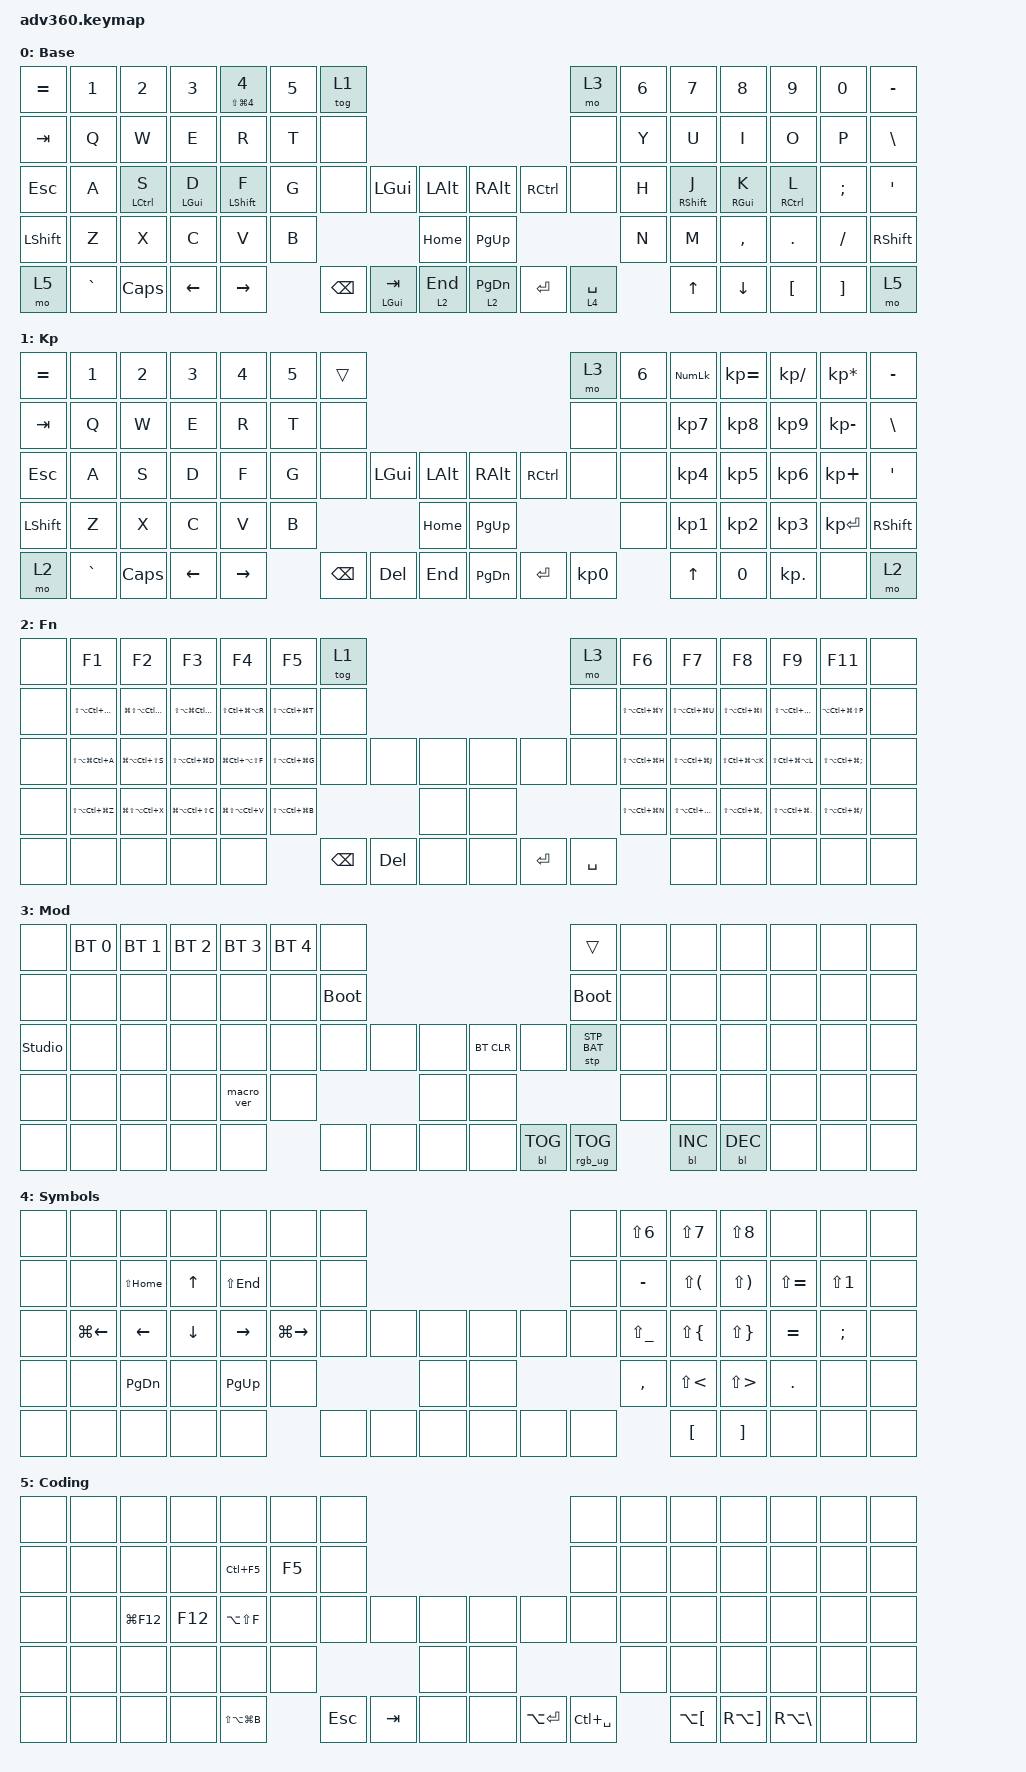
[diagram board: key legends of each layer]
#include <dt-bindings/zmk/stp.h>
#include <behaviors.dtsi>
#include <dt-bindings/zmk/backlight.h>
#include <dt-bindings/zmk/bt.h>
#include <dt-bindings/zmk/keys.h>
#include <dt-bindings/zmk/rgb.h>

/ {
    behaviors {
        #include "macros.dtsi"
      #include "version.dtsi"

        hm: homerow_mods {
            compatible = "zmk,behavior-hold-tap";
            label = "HOMEROW_MODS";
            #binding-cells = <2>;
            tapping-term-ms = <200>;
            quick_tap_ms = <175>;
            flavor = "tap-preferred";
            bindings = <&kp>, <&kp>;

            hold-trigger-key-positions = <0 1 2 3 4 5 6 7 8 9 10 11 12 13 14 15 16 17 18 19 20 21 22 23 24 25 26 27 28 29 30 31 32 33 34 39 40 41 42 43 44 45 46 47 48 49 50 51 54 55 56 57 58 59 60 61 62 63 64 71 72 73 74 75>;
        };

        thleft: thleft {
            compatible = "zmk,behavior-hold-tap";
            label = "THLEFT";
            bindings = <&kp>, <&kp>;

            #binding-cells = <2>;
            tapping-term-ms = <250>;
            quick-tap-ms = <200>;
            flavor = "balanced";
            hold-trigger-key-positions = <7 8 9 10 11 12 13 21 22 23 24 25 26 27 39 40 41 42 43 44 45 54 55 56 57 58 59 71 72 73 74 75 0 1 2 3 4 5 6 14 15 16 17 18 19 20 28 29 30 31 32 33 34 46 47 48 49 50 51 60 61 62 63 64 69 70 65 66 69 54 69 70>;
            require-prior-idle-ms = <10>;
        };

        thright: thright {
            compatible = "zmk,behavior-hold-tap";
            label = "THRIGHT";
            bindings = <&kp>, <&kp>;

            #binding-cells = <2>;
            tapping-term-ms = <250>;
            quick-tap-ms = <200>;
            flavor = "tap-preferred";
            hold-trigger-key-positions = <0 1 2 3 4 5 6 14 15 16 17 18 19 20 28 29 30 31 32 33 34 46 47 48 49 50 51 60 61 62 63 64 13 27 45 59 75 12 26 44 58 74 7 8 9 10 11 12 21 22 23 24 25 26 39 40 41 42 43 44 54 55 56 57 58 71 72 73 69 70 65 66>;
            require-prior-idle-ms = <10>;
        };
    };

    keymap {
        compatible = "zmk,keymap";

        default_layer {
            display-name = "Base";
            bindings = <
&kp EQUAL  &kp N1     &kp N2                  &kp N3          &mt LS(LG(NUMBER_4)) NUMBER_4  &kp N5  &tog 1                                                                 &mo 3        &kp N6  &kp N7                  &kp N8                &kp N9            &kp N0    &kp MINUS
&kp TAB    &kp Q      &kp W                   &kp E           &kp R                          &kp T   &none                                                                  &none        &kp Y   &kp U                   &kp I                 &kp O             &kp P     &kp BSLH
&kp ESC    &kp A      &thleft LEFT_CONTROL S  &thleft LGUI D  &thleft LEFT_SHIFT F           &kp G   &none     &kp LEFT_GUI      &kp LALT       &kp RIGHT_ALT    &kp RCTRL  &none        &kp H   &thright RIGHT_SHIFT J  &thright RIGHT_GUI K  &thright RCTRL L  &kp SEMI  &kp SQT
&kp LSHFT  &kp Z      &kp X                   &kp C           &kp V                          &kp B                               &kp HOME       &kp PG_UP                                &kp N   &kp M                   &kp COMMA             &kp DOT           &kp FSLH  &kp RSHFT
&mo 5      &kp GRAVE  &kp CAPS                &kp LEFT        &kp RIGHT                              &kp BSPC  &mt LEFT_GUI TAB  &lt 2 END      &lt 2 PAGE_DOWN  &kp ENTER  &lt 4 SPACE          &kp UP                  &kp DOWN              &kp LBKT          &kp RBKT  &mo 5
            >;
        };

        keypad {
            display-name = "Kp";
            bindings = <
&kp EQUAL  &kp N1     &kp N2    &kp N3    &kp N4     &kp N5  &trans                                                          &mo 3      &kp N6  &kp KP_NUM  &kp KP_EQUAL  &kp KP_DIVIDE  &kp KP_MULTIPLY  &kp MINUS
&kp TAB    &kp Q      &kp W     &kp E     &kp R      &kp T   &none                                                           &none      &none   &kp KP_N7   &kp KP_N8     &kp KP_N9      &kp KP_MINUS     &kp BSLH
&kp ESC    &kp A      &kp S     &kp D     &kp F      &kp G   &none     &kp LEFT_GUI  &kp LALT      &kp RIGHT_ALT  &kp RCTRL  &none      &none   &kp KP_N4   &kp KP_N5     &kp KP_N6      &kp KP_PLUS      &kp SQT
&kp LSHFT  &kp Z      &kp X     &kp C     &kp V      &kp B                           &kp HOME      &kp PG_UP                            &none   &kp KP_N1   &kp KP_N2     &kp KP_N3      &kp KP_ENTER     &kp RSHFT
&mo 2      &kp GRAVE  &kp CAPS  &kp LEFT  &kp RIGHT          &kp BSPC  &kp DEL       &kp END       &kp PG_DN      &kp ENTER  &kp KP_N0          &kp UP      &kp N0        &kp KP_DOT     &none            &mo 2
            >;
        };

        fn {
            display-name = "Fn";
            bindings = <
&none  &kp F1                 &kp F2                 &kp F3                                 &kp F4                 &kp F5                 &tog 1                                                  &mo 3      &kp F6                 &kp F7                 &kp F8                     &kp F9                   &kp F11                   &none
&none  &kp LS(LA(LC(LG(Q))))  &kp LG(LS(LA(LC(W))))  &kp LS(LA(LG(LC(RS(RA(RC(RG(E))))))))  &kp LS(LC(LG(LA(R))))  &kp LS(LA(LC(LG(T))))  &none                                                   &none      &kp LS(LA(LC(LG(Y))))  &kp LS(LA(LC(LG(U))))  &kp LS(LA(LC(LG(I))))      &kp LS(LA(LC(LG(O))))    &kp LA(LC(LG(LS(P))))     &none
&none  &kp LS(LA(LG(LC(A))))  &kp LG(LA(LC(LS(S))))  &kp LS(LA(LC(LG(D))))                  &kp LG(LC(LA(LS(F))))  &kp LS(LA(LC(LG(G))))  &none          &none       &none      &none  &none      &none      &kp LS(LA(LC(LG(H))))  &kp LS(LA(LC(LG(J))))  &kp LS(LC(LG(LA(K))))      &kp LS(LC(LG(LA(L))))    &kp LS(LA(LC(LG(SEMI))))  &none
&none  &kp LS(LA(LC(LG(Z))))  &kp LG(LS(LA(LC(X))))  &kp LG(LA(LC(LS(C))))                  &kp LG(LS(LA(LC(V))))  &kp LS(LA(LC(LG(B))))                             &none      &none                        &kp LS(LA(LC(LG(N))))  &kp LS(LA(LC(LG(M))))  &kp LS(LA(LC(LG(COMMA))))  &kp LS(LA(LC(LG(DOT))))  &kp LS(LA(LC(LG(FSLH))))  &none
&none  &none                  &none                  &none                                  &none                                         &kp BACKSPACE  &kp DELETE  &none      &none  &kp ENTER  &kp SPACE                         &none                  &none                      &none                    &none                     &none
            >;
        };

        mod {
            display-name = "Mod";
            bindings = <
&none           &bt BT_SEL 0  &bt BT_SEL 1  &bt BT_SEL 2  &bt BT_SEL 3  &bt BT_SEL 4  &none                                                  &trans           &none  &none       &none       &none  &none  &none
&none           &none         &none         &none         &none         &none         &bootloader                                            &bootloader      &none  &none       &none       &none  &none  &none
&studio_unlock  &none         &none         &none         &none         &none         &none        &none  &none      &bt BT_CLR  &none       &stp STP_BAT     &none  &none       &none       &none  &none  &none
&none           &none         &none         &none         &macro_ver    &none                             &none      &none                                    &none  &none       &none       &none  &none  &none
&none           &none         &none         &none         &none                       &none        &none  &none      &none       &bl BL_TOG  &rgb_ug RGB_TOG         &bl BL_INC  &bl BL_DEC  &none  &none  &none
            >;
        };

        Symbols {
            bindings = <
&none  &none         &none         &none     &none        &none          &none                                  &none  &kp LS(NUMBER_6)  &kp LS(N7)        &kp LS(N8)         &none          &none             &none
&none  &none         &kp LS(HOME)  &kp UP    &kp LS(END)  &none          &none                                  &none  &kp MINUS         &kp LS(LPAR)      &kp LS(RPAR)       &kp LS(EQUAL)  &kp LS(NUMBER_1)  &none
&none  &kp LG(LEFT)  &kp LEFT      &kp DOWN  &kp RIGHT    &kp LG(RIGHT)  &none  &none  &none      &none  &none  &none  &kp LS(UNDER)     &kp LS(LBRC)      &kp LS(RBRC)       &kp EQUAL      &kp SEMI          &none
&none  &none         &kp PG_DN     &none     &kp PG_UP    &none                        &none      &none                &kp COMMA         &kp LS(LT)        &kp LS(GT)         &kp PERIOD     &none             &none
&none  &none         &none         &none     &none                       &none  &none  &none      &none  &none  &none                    &kp LEFT_BRACKET  &kp RIGHT_BRACKET  &none          &none             &none
            >;
        };

        Coding {
            bindings = <
&none  &none  &none        &none    &none              &none   &none                                                 &none          &none  &none                 &none                  &none              &none  &none
&none  &none  &none        &none    &kp LC(F5)         &kp F5  &none                                                 &none          &none  &none                 &none                  &none              &none  &none
&none  &none  &kp LG(F12)  &kp F12  &kp LA(LS(F))      &none   &none       &none    &none      &none  &none          &none          &none  &none                 &none                  &none              &none  &none
&none  &none  &none        &none    &none              &none                        &none      &none                                &none  &none                 &none                  &none              &none  &none
&none  &none  &none        &none    &kp LS(LA(LG(B)))          &kp ESCAPE  &kp TAB  &none      &none  &kp LA(ENTER)  &kp LC(SPACE)         &kp LA(LEFT_BRACKET)  &kp RA(RIGHT_BRACKET)  &kp RA(BACKSLASH)  &none  &none
            >;
        };
    };
};
